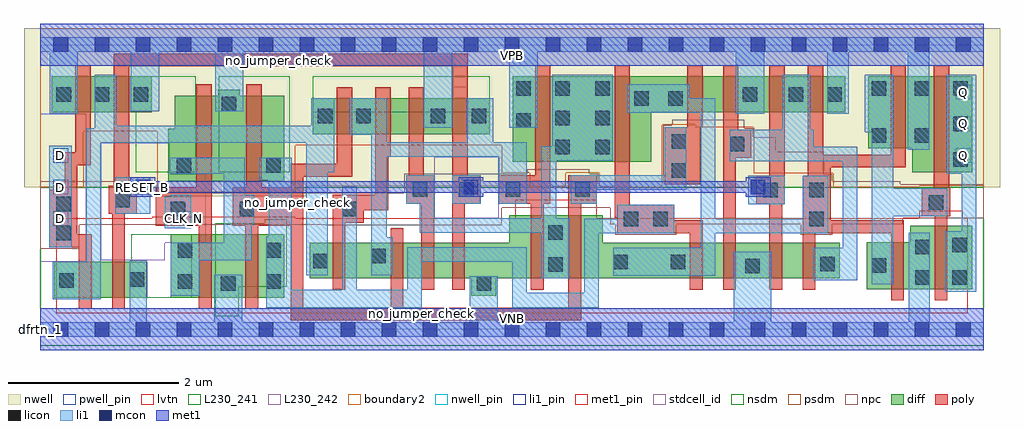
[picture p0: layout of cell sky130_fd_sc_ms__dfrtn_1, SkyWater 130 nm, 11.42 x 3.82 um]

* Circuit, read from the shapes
.subckt sky130_fd_sc_ms__dfrtn_1 CLK_N D Q RESET_B VGND VNB VPB VPWR
XM1 n1 D n2 VNB sky130_fd_pr__nfet_01v8_lvt w=0.42 l=0.15
XM2 VGND RESET_B n1 VNB sky130_fd_pr__nfet_01v8_lvt w=0.42 l=0.15
XM3 VGND CLK_N n3 VNB sky130_fd_pr__nfet_01v8_lvt w=0.74 l=0.15
XM4 n4 n3 VGND VNB sky130_fd_pr__nfet_01v8_lvt w=0.74 l=0.15
XM5 n5 n4 n2 VNB sky130_fd_pr__nfet_01v8_lvt w=0.42 l=0.15
XM6 n6 n3 n5 VNB sky130_fd_pr__nfet_01v8_lvt w=0.42 l=0.15
XM7 n7 n8 n6 VNB sky130_fd_pr__nfet_01v8_lvt w=0.42 l=0.15
XM8 VGND RESET_B n7 VNB sky130_fd_pr__nfet_01v8_lvt w=0.42 l=0.15
XM9 n8 n5 VGND VNB sky130_fd_pr__nfet_01v8_lvt w=0.74 l=0.15
XM10 n9 n3 n8 VNB sky130_fd_pr__nfet_01v8_lvt w=0.74 l=0.15
XM11 n10 n4 n9 VNB sky130_fd_pr__nfet_01v8_lvt w=0.42 l=0.15
XM12 VGND n11 n10 VNB sky130_fd_pr__nfet_01v8_lvt w=0.42 l=0.15
XM13 n12 RESET_B VGND VNB sky130_fd_pr__nfet_01v8_lvt w=0.42 l=0.15
XM14 n11 n9 n12 VNB sky130_fd_pr__nfet_01v8_lvt w=0.42 l=0.15
XM15 VGND n9 n13 VNB sky130_fd_pr__nfet_01v8_lvt w=0.55 l=0.15
XM16 Q n13 VGND VNB sky130_fd_pr__nfet_01v8_lvt w=0.74 l=0.15
XM17 n2 D VPWR VPB sky130_fd_pr__pfet_01v8 w=0.42 l=0.18
XM18 VPWR RESET_B n2 VPB sky130_fd_pr__pfet_01v8 w=0.42 l=0.18
XM19 VPWR CLK_N n3 VPB sky130_fd_pr__pfet_01v8 w=1 l=0.18
XM20 n4 n3 VPWR VPB sky130_fd_pr__pfet_01v8 w=1 l=0.18
XM21 n5 n3 n2 VPB sky130_fd_pr__pfet_01v8 w=0.42 l=0.18
XM22 n14 n4 n5 VPB sky130_fd_pr__pfet_01v8 w=0.42 l=0.18
XM23 VPWR n8 n14 VPB sky130_fd_pr__pfet_01v8 w=0.42 l=0.18
XM24 n5 RESET_B VPWR VPB sky130_fd_pr__pfet_01v8 w=0.42 l=0.18
XM25 n8 n5 VPWR VPB sky130_fd_pr__pfet_01v8 w=1 l=0.18
XM26 n9 n4 n8 VPB sky130_fd_pr__pfet_01v8 w=1 l=0.18
XM27 n15 n3 n9 VPB sky130_fd_pr__pfet_01v8 w=0.42 l=0.18
XM28 VPWR n11 n15 VPB sky130_fd_pr__pfet_01v8 w=0.42 l=0.18
XM29 n11 RESET_B VPWR VPB sky130_fd_pr__pfet_01v8 w=0.42 l=0.18
XM30 VPWR n9 n11 VPB sky130_fd_pr__pfet_01v8 w=0.42 l=0.18
XM31 VPWR n9 n13 VPB sky130_fd_pr__pfet_01v8 w=0.84 l=0.18
XM32 Q n13 VPWR VPB sky130_fd_pr__pfet_01v8 w=1.12 l=0.18
.ends

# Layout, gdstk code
import gdstk
lib = gdstk.Library(unit=1e-6, precision=1e-09)
def R(c, l, rs):  # rectangles x0, y0, x1, y1
    for r in rs: c.add(gdstk.rectangle(r[:2], r[2:], *l))
def A(c, l, x, y, w, h, nx, ny, dx, dy):  # array of equal rectangles
    R(c, l, [(x+i*dx, y+j*dy, x+i*dx+w, y+j*dy+h) for i in range(nx) for j in range(ny)])
def P(c, l, *ps):  # polygons
    for p in ps: c.add(gdstk.Polygon(p, *l))
nwell_pin = (64, 16)
nwell = (64, 20)
diff = (65, 20)
poly = (66, 20)
licon = (66, 44)
li1_pin = (67, 16)
li1 = (67, 20)
mcon = (67, 44)
met1_pin = (68, 16)
met1 = (68, 20)
stdcell_id = (81, 4)
nsdm = (93, 44)
psdm = (94, 20)
npc = (95, 20)
pwell_pin = (122, 16)
lvtn = (125, 44)
L230_241 = (230, 241)
L230_242 = (230, 242)
boundary2 = (236, 0)

sky130_fd_sc_ms__dfrtn_1 = lib.new_cell('sky130_fd_sc_ms__dfrtn_1')
R(sky130_fd_sc_ms__dfrtn_1, nwell_pin, [(0,3.085,11.04,3.33)])
P(sky130_fd_sc_ms__dfrtn_1, nwell, [(11.23,3.52),(-0.19,3.52),(-0.19,1.66),(1.29,1.66),(1.29,1.555),(3.11,1.555),(3.11,1.675),(6.92,1.675),(6.92,1.66),(11.23,1.66)])
R(sky130_fd_sc_ms__dfrtn_1, diff, [(0.165,0.37,1.255,0.79), (1.525,0.37,2.855,1.11), (3.19,2.285,5.26,2.705), (0.135,2.54,1.305,2.96)])
P(sky130_fd_sc_ms__dfrtn_1, diff, [(2.855,2.735),(2.335,2.735),(2.335,2.8),(2.08,2.8),(2.08,2.735),(1.575,2.735),(1.575,2.345),(1.5,2.345),(1.5,1.735),(2.855,1.735)],
  [(10.905,2.96),(9.69,2.96),(9.69,2.12),(10.205,2.12),(10.205,1.84),(10.905,1.84)],
  [(10.905,1.21),(10.18,1.21),(10.18,1.02),(9.67,1.02),(9.67,0.47),(10.905,0.47)],
  [(9.355,1.015),(6.58,1.015),(6.58,1.335),(5.49,1.335),(5.49,1.015),(3.155,1.015),(3.155,0.595),(5.045,0.595),(5.045,0.39),(5.335,0.39),(5.335,0.595),(9.355,0.595)],
  [(9.42,2.96),(5.53,2.96),(5.53,1.96),(7.15,1.96),(7.15,2.54),(9.42,2.54)])
P(sky130_fd_sc_ms__dfrtn_1, poly, [(0.6,1.11),(0.435,1.11),(0.435,1.92),(0.59,1.92),(0.59,3.09),(0.41,3.09),(0.41,2.07),(0.285,2.07),(0.285,1.63),(0.105,1.63),(0.105,0.96),(0.45,0.96),(0.45,0.24),(0.6,0.24)],
  [(10.645,1.65),(10.635,1.65),(10.635,3.09),(10.455,3.09),(10.455,1.65),(10.315,1.65),(10.315,1.32),(10.465,1.32),(10.465,0.34),(10.615,0.34),(10.615,1.32),(10.645,1.32)],
  [(10.13,3.09),(9.95,3.09),(9.95,2.045),(9.16,2.045),(9.16,3.09),(8.98,3.09),(8.98,1.795),(8.92,1.795),(8.92,0.465),(9.07,0.465),(9.07,1.125),(9.955,1.125),(9.955,0.34),(10.105,0.34),(10.105,1.275),(9.25,1.275),(9.25,1.895),(10.13,1.895)],
  [(2.005,2.865),(1.825,2.865),(1.825,1.66),(1.35,1.66),(1.35,1.21),(1.855,1.21),(1.855,0.24),(2.005,0.24)],
  [(4.1,2.835),(3.92,2.835),(3.92,1.575),(3.42,1.575),(3.42,0.465),(3.57,0.465),(3.57,1.245),(3.785,1.245),(3.785,1.395),(4.07,1.395),(4.07,2.02),(4.1,2.02)],
  [(4.61,1.8),(4.49,1.8),(4.49,2.835),(4.31,2.835),(4.31,1.8),(4.28,1.8),(4.28,1.47),(4.46,1.47),(4.46,0.465),(4.61,0.465)],
  [(5.15,1.8),(5,1.8),(5,3.225),(0.86,3.225),(0.86,1.68),(0.8,1.68),(0.8,1.35),(0.84,1.35),(0.84,0.24),(0.99,0.24),(0.99,1.35),(1.13,1.35),(1.13,1.68),(1.04,1.68),(1.04,3.075),(4.82,3.075),(4.82,0.465),(4.97,0.465),(4.97,1.47),(5.15,1.47)],
  [(8.71,3.09),(8.53,3.09),(8.53,1.795),(8.38,1.795),(8.38,1.465),(8.53,1.465),(8.53,0.465),(8.68,0.465),(8.68,1.465),(8.71,1.465)],
  [(5.97,3.09),(5.79,3.09),(5.79,1.8),(5.365,1.8),(5.365,1.47),(5.74,1.47),(5.74,0.465),(5.89,0.465),(5.89,1.47),(5.97,1.47)],
  [(6.51,1.8),(6.18,1.8),(6.18,0.255),(4.25,0.255),(4.25,1.185),(4.1,1.185),(4.1,0.255),(3.08,0.255),(3.08,1.785),(3.65,1.785),(3.65,2.835),(3.47,2.835),(3.47,1.935),(2.93,1.935),(2.93,1.66),(2.59,1.66),(2.59,2.865),(2.41,2.865),(2.41,1.66),(2.255,1.66),(2.255,1.21),(2.4,1.21),(2.4,0.24),(2.55,0.24),(2.55,1.21),(2.93,1.21),(2.93,0.105),(6.33,0.105),(6.33,1.47),(6.51,1.47)],
  [(7.75,3.09),(7.57,3.09),(7.57,2.365),(7.31,2.365),(7.31,1.695),(7.72,1.695),(7.72,2.365),(7.75,2.365)],
  [(7.75,1.275),(7.42,1.275),(7.42,1.455),(6.9,1.455),(6.9,3.09),(6.72,3.09),(6.72,1.305),(6.75,1.305),(6.75,1.125),(7.6,1.125),(7.6,0.465),(7.75,0.465)],
  [(8.32,2.335),(8.17,2.335),(8.17,3.09),(7.99,3.09),(7.99,0.465),(8.14,0.465),(8.14,2.005),(8.32,2.005)])
A(sky130_fd_sc_ms__dfrtn_1, licon, 10.685, 1.9, 0.17, 0.17, 1, 3, 0, 0.415)
A(sky130_fd_sc_ms__dfrtn_1, licon, 6.025, 2.05, 0.17, 0.17, 1, 3, 0, 0.34)
A(sky130_fd_sc_ms__dfrtn_1, licon, 6.495, 2.05, 0.17, 0.17, 1, 3, 0, 0.34)
R(sky130_fd_sc_ms__dfrtn_1, licon, [(2.115,0.45,2.285,0.62), (5.105,0.45,5.275,0.62), (1.61,0.475,1.78,0.645), (2.645,0.475,2.815,0.645), (0.225,0.485,0.395,0.655), (1.045,0.495,1.215,0.665), (10.24,0.52,10.41,0.69), (10.67,0.52,10.84,0.69), (8.25,0.655,8.42,0.825), (9.73,0.66,9.9,0.83), (5.945,0.675,6.115,0.845), (9.125,0.68,9.295,0.85), (6.705,0.705,6.875,0.875), (7.375,0.705,7.545,0.875), (3.195,0.715,3.365,0.885), (3.875,0.77,4.045,0.94), (1.61,0.84,1.78,1.01), (2.645,0.84,2.815,1.01), (10.24,0.88,10.41,1.05), (10.67,0.9,10.84,1.07), (0.185,1.04,0.355,1.21), (5.945,1.05,6.115,1.22), (6.83,1.205,7,1.375), (7.17,1.205,7.34,1.375), (9,1.205,9.17,1.375), (1.525,1.325,1.695,1.495), (2.335,1.325,2.505,1.495), (3.535,1.325,3.705,1.495), (0.185,1.38,0.355,1.55), (10.395,1.4,10.565,1.57), (0.88,1.43,1.05,1.6), (8.46,1.545,8.63,1.715), (9,1.545,9.17,1.715), (4.36,1.55,4.53,1.72), (4.9,1.55,5.07,1.72), (5.445,1.55,5.615,1.72), (6.26,1.55,6.43,1.72), (7.39,1.775,7.56,1.945), (1.595,1.83,1.765,2), (2.645,1.83,2.815,2), (8.07,2.085,8.24,2.255), (7.39,2.115,7.56,2.285), (10.23,2.18,10.4,2.35), (9.73,2.185,9.9,2.355), (5.57,2.36,5.74,2.53), (3.25,2.41,3.42,2.58), (3.7,2.41,3.87,2.58), (4.57,2.41,4.74,2.58), (5.05,2.41,5.22,2.58), (2.125,2.55,2.295,2.72), (6.95,2.615,7.12,2.785), (7.35,2.615,7.52,2.785), (0.19,2.665,0.36,2.835), (0.64,2.665,0.81,2.835), (1.095,2.665,1.265,2.835), (8.22,2.665,8.39,2.835), (8.76,2.665,8.93,2.835), (9.21,2.665,9.38,2.835), (5.57,2.73,5.74,2.9), (9.73,2.73,9.9,2.9), (10.23,2.73,10.4,2.9)])
A(sky130_fd_sc_ms__dfrtn_1, li1_pin, 0.155, 1.21, 0.17, 0.17, 1, 3, 0, 0.37)
A(sky130_fd_sc_ms__dfrtn_1, li1_pin, 10.715, 1.95, 0.17, 0.17, 1, 3, 0, 0.37)
R(sky130_fd_sc_ms__dfrtn_1, li1_pin, [(1.595,1.21,1.765,1.38)])
R(sky130_fd_sc_ms__dfrtn_1, li1, [(5.025,0.085,5.355,0.62), (0.105,0.96,0.37,2.15), (0.88,1.35,1.285,1.78), (8.285,1.465,8.71,1.795), (4.82,1.47,5.155,1.8)])
P(sky130_fd_sc_ms__dfrtn_1, li1, [(1.765,1.575),(1.515,1.575),(1.515,1.55),(1.455,1.55),(1.455,1.18),(1.765,1.18)],
  [(2.505,1.575),(2.395,1.575),(2.395,2.01),(1.515,2.01),(1.515,1.82),(2.145,1.82),(2.145,1.01),(1.53,1.01),(1.53,0.395),(1.865,0.395),(1.865,0.81),(2.475,0.81),(2.475,1.22),(2.505,1.22)],
  [(11.04,3.415),(0,3.415),(0,3.245),(0.11,3.245),(0.11,2.52),(0.44,2.52),(0.44,3.245),(1.06,3.245),(1.06,2.55),(1.39,2.55),(1.39,3.245),(2.045,3.245),(2.045,2.55),(2.375,2.55),(2.375,3.245),(4.49,3.245),(4.49,2.36),(4.82,2.36),(4.82,3.245),(5.49,3.245),(5.49,2.36),(5.82,2.36),(5.82,3.245),(8.14,3.245),(8.14,2.52),(8.47,2.52),(8.47,3.245),(9.21,3.245),(9.21,2.52),(9.46,2.52),(9.46,3.245),(10.15,3.245),(10.15,2.1),(10.4,2.1),(10.4,3.245),(11.04,3.245)],
  [(10.955,2.98),(10.605,2.98),(10.605,1.82),(10.785,1.82),(10.785,1.15),(10.59,1.15),(10.59,0.44),(10.955,0.44)],
  [(7.42,1.455),(6.75,1.455),(6.75,1.295),(6.365,1.295),(6.365,0.425),(5.695,0.425),(5.695,0.96),(4.295,0.96),(4.295,0.465),(3.705,0.465),(3.705,1.67),(3.535,1.67),(3.535,0.465),(2.94,0.465),(2.94,2.01),(2.565,2.01),(2.565,1.745),(2.675,1.745),(2.675,1.09),(2.645,1.09),(2.645,0.255),(4.465,0.255),(4.465,0.79),(5.525,0.79),(5.525,0.255),(6.535,0.255),(6.535,1.125),(7.42,1.125)],
  [(5.695,2.19),(5.3,2.19),(5.3,2.705),(4.99,2.705),(4.99,2.19),(4.055,2.19),(4.055,2.705),(3.62,2.705),(3.62,2.275),(3.875,2.275),(3.875,0.635),(4.125,0.635),(4.125,1.075),(4.055,1.075),(4.055,2.02),(5.365,2.02),(5.365,1.47),(5.695,1.47)],
  [(10.615,1.65),(9.98,1.65),(9.98,2.98),(9.65,2.98),(9.65,2.305),(9.73,2.305),(9.73,0.53),(9.98,0.53),(9.98,1.32),(10.615,1.32)],
  [(6.7,2.98),(5.99,2.98),(5.99,2.14),(5.865,2.14),(5.865,1.3),(4.61,1.3),(4.61,1.8),(4.28,1.8),(4.28,1.47),(4.44,1.47),(4.44,1.13),(5.865,1.13),(5.865,0.595),(6.195,0.595),(6.195,1.3),(6.035,1.3),(6.035,1.97),(6.7,1.97)],
  [(3.44,2.705),(3.17,2.705),(3.17,2.38),(0.89,2.38),(0.89,2.98),(0.64,2.98),(0.64,2.35),(0.54,2.35),(0.54,0.79),(0.145,0.79),(0.145,0.35),(0.71,0.35),(0.71,2.18),(3.115,2.18),(3.115,0.635),(3.365,0.635),(3.365,1.84),(3.44,1.84)],
  [(7.56,2.365),(7.31,2.365),(7.31,1.8),(6.205,1.8),(6.205,1.47),(6.51,1.47),(6.51,1.63),(7.56,1.63)],
  [(9.22,1.795),(8.92,1.795),(8.92,1.295),(7.9,1.295),(7.9,2.705),(7.6,2.705),(7.6,2.865),(6.87,2.865),(6.87,2.535),(7.73,2.535),(7.73,0.955),(6.705,0.955),(6.705,0.625),(7.9,0.625),(7.9,1.125),(9.22,1.125)],
  [(9.56,2.135),(9.05,2.135),(9.05,2.335),(9.01,2.335),(9.01,2.98),(8.68,2.98),(8.68,2.335),(8.07,2.335),(8.07,1.965),(9.39,1.965),(9.39,0.955),(9.045,0.955),(9.045,0.575),(9.56,0.575)],
  [(11.04,0.085),(10.41,0.085),(10.41,1.13),(10.16,1.13),(10.16,0.085),(8.555,0.085),(8.555,0.905),(8.115,0.905),(8.115,0.085),(2.365,0.085),(2.365,0.64),(2.035,0.64),(2.035,0.085),(1.245,0.085),(1.245,0.81),(1.045,0.81),(1.045,0.085),(0,0.085),(0,-0.085),(11.04,-0.085)])
A(sky130_fd_sc_ms__dfrtn_1, mcon, 0.155, -0.085, 0.17, 0.17, 23, 2, 0.48, 3.33)
R(sky130_fd_sc_ms__dfrtn_1, mcon, [(1.115,1.58,1.285,1.75), (4.955,1.58,5.125,1.75), (8.315,1.58,8.485,1.75)])
R(sky130_fd_sc_ms__dfrtn_1, met1_pin, [(0,0,11.04,0.245), (1.115,1.58,1.285,1.75), (0,3.085,11.04,3.33)])
R(sky130_fd_sc_ms__dfrtn_1, met1, [(0,-0.245,11.04,0.245), (0,3.085,11.04,3.575)])
P(sky130_fd_sc_ms__dfrtn_1, met1, [(8.545,1.78),(8.255,1.78),(8.255,1.735),(5.185,1.735),(5.185,1.78),(4.895,1.78),(4.895,1.735),(1.345,1.735),(1.345,1.78),(1.055,1.78),(1.055,1.55),(1.345,1.55),(1.345,1.595),(4.895,1.595),(4.895,1.55),(5.185,1.55),(5.185,1.595),(8.255,1.595),(8.255,1.55),(8.545,1.55)])
R(sky130_fd_sc_ms__dfrtn_1, stdcell_id, [(0,0,11.04,3.33)])
P(sky130_fd_sc_ms__dfrtn_1, nsdm, [(11.04,1.66),(2.985,1.66),(2.985,1.605),(1.37,1.605),(1.37,1.66),(0,1.66),(0,-0.19),(11.04,-0.19)])
P(sky130_fd_sc_ms__dfrtn_1, psdm, [(11.04,3.52),(0,3.52),(0,1.66),(0.51,1.66),(0.51,2.32),(1.37,2.32),(1.37,1.605),(2.985,1.605),(2.985,2.155),(5.4,2.155),(5.4,1.83),(5.725,1.83),(5.725,1.66),(6.15,1.66),(6.15,1.83),(6.54,1.83),(6.54,1.66),(7.28,1.66),(7.28,2.395),(7.67,2.395),(7.67,2.365),(8.35,2.365),(8.35,1.825),(9.28,1.825),(9.28,1.66),(10.285,1.66),(10.285,1.68),(11.04,1.68)])
P(sky130_fd_sc_ms__dfrtn_1, npc, [(11.04,1.7),(10.065,1.7),(10.065,1.73),(9.27,1.73),(9.27,1.815),(9.165,1.815),(9.165,2.08),(8.605,2.08),(8.605,2.25),(8.34,2.25),(8.34,2.355),(8.235,2.355),(8.235,2.45),(7.395,2.45),(7.395,2.385),(7.29,2.385),(7.29,1.73),(6.53,1.73),(6.53,1.82),(6.425,1.82),(6.425,1.87),(5.7,1.87),(5.7,1.82),(4.26,1.82),(4.26,1.595),(1.15,1.595),(1.15,1.73),(0,1.73),(0,0.94),(0.455,0.94),(0.455,1.225),(3.34,1.225),(3.34,1.215),(5.4,1.215),(5.4,1.425),(6.67,1.425),(6.67,1.23),(6.73,1.23),(6.73,1.105),(7.44,1.105),(7.44,1.23),(8.9,1.23),(8.9,1.105),(9.27,1.105),(9.27,1.23),(10.09,1.23),(10.09,1.3),(11.04,1.3)])
R(sky130_fd_sc_ms__dfrtn_1, pwell_pin, [(0,0,11.04,0.245)])
P(sky130_fd_sc_ms__dfrtn_1, lvtn, [(10.85,1.3),(10.795,1.3),(10.795,1.39),(10.285,1.39),(10.285,1.3),(6.51,1.3),(6.51,1.515),(5.56,1.515),(5.56,1.3),(2.985,1.3),(2.985,1.315),(1.31,1.315),(1.31,1.3),(0.19,1.3),(0.19,0.19),(10.85,0.19)])
R(sky130_fd_sc_ms__dfrtn_1, L230_241, [(0.105,0.96,0.37,2.15), (1.455,1.18,1.765,1.55), (0.88,1.35,1.285,1.78), (4.82,1.47,5.155,1.8), (2.09,1.84,2.92,2.96), (3.19,2.54,5.26,2.96)])
P(sky130_fd_sc_ms__dfrtn_1, L230_241, [(1.775,1.11),(1.065,1.11),(1.065,0.79),(0.165,0.79),(0.165,0.37),(1.775,0.37)],
  [(1.82,2.96),(0.135,2.96),(0.135,2.54),(1.115,2.54),(1.115,1.84),(1.82,1.84)],
  [(2.885,1.285),(2.625,1.285),(2.625,1.24),(2.045,1.24),(2.045,0.155),(2.325,0.155),(2.325,0.5),(2.885,0.5)])
R(sky130_fd_sc_ms__dfrtn_1, L230_242, [(0,0.79,0.54,2.52), (4.61,1.3,5.365,2.02)])
P(sky130_fd_sc_ms__dfrtn_1, L230_242, [(1.935,1.82),(1.515,1.82),(1.515,2.18),(0.71,2.18),(0.71,0.81),(1.455,0.81),(1.455,1.01),(1.935,1.01)],
  [(5,3.225),(0.86,3.225),(0.86,3.09),(1.04,3.09),(1.04,3.075),(4.82,3.075),(4.82,2.835),(5,2.835)])
R(sky130_fd_sc_ms__dfrtn_1, boundary2, [(0,0,11.04,3.33)])
sky130_fd_sc_ms__dfrtn_1.add(gdstk.Label('VNB', (5.52,0.123), layer=64, texttype=59))
sky130_fd_sc_ms__dfrtn_1.add(gdstk.Label('VPB', (5.52,3.208), layer=64, texttype=5))
sky130_fd_sc_ms__dfrtn_1.add(gdstk.Label('no_jumper_check', (4.46,0.18), layer=83, texttype=44))
sky130_fd_sc_ms__dfrtn_1.add(gdstk.Label('no_jumper_check', (2.785,3.15), layer=83, texttype=44))
sky130_fd_sc_ms__dfrtn_1.add(gdstk.Label('dfrtn_1', (0,0), layer=83, texttype=44))
sky130_fd_sc_ms__dfrtn_1.add(gdstk.Label('no_jumper_check', (3.01,1.485), layer=83, texttype=44))
sky130_fd_sc_ms__dfrtn_1.add(gdstk.Label('RESET_B', (1.2,1.665), layer=68, texttype=5))
sky130_fd_sc_ms__dfrtn_1.add(gdstk.Label('VPWR', (5.52,3.208), layer=68, texttype=5))
sky130_fd_sc_ms__dfrtn_1.add(gdstk.Label('VGND', (5.52,0.123), layer=68, texttype=5))
sky130_fd_sc_ms__dfrtn_1.add(gdstk.Label('CLK_N', (1.68,1.295), layer=67, texttype=5))
sky130_fd_sc_ms__dfrtn_1.add(gdstk.Label('Q', (10.8,2.035), layer=67, texttype=5))
sky130_fd_sc_ms__dfrtn_1.add(gdstk.Label('Q', (10.8,2.405), layer=67, texttype=5))
sky130_fd_sc_ms__dfrtn_1.add(gdstk.Label('Q', (10.8,2.775), layer=67, texttype=5))
sky130_fd_sc_ms__dfrtn_1.add(gdstk.Label('D', (0.24,1.295), layer=67, texttype=5))
sky130_fd_sc_ms__dfrtn_1.add(gdstk.Label('D', (0.24,1.665), layer=67, texttype=5))
sky130_fd_sc_ms__dfrtn_1.add(gdstk.Label('D', (0.24,2.035), layer=67, texttype=5))

lib.write_gds('sky130_fd_sc_ms__dfrtn_1.gds')
